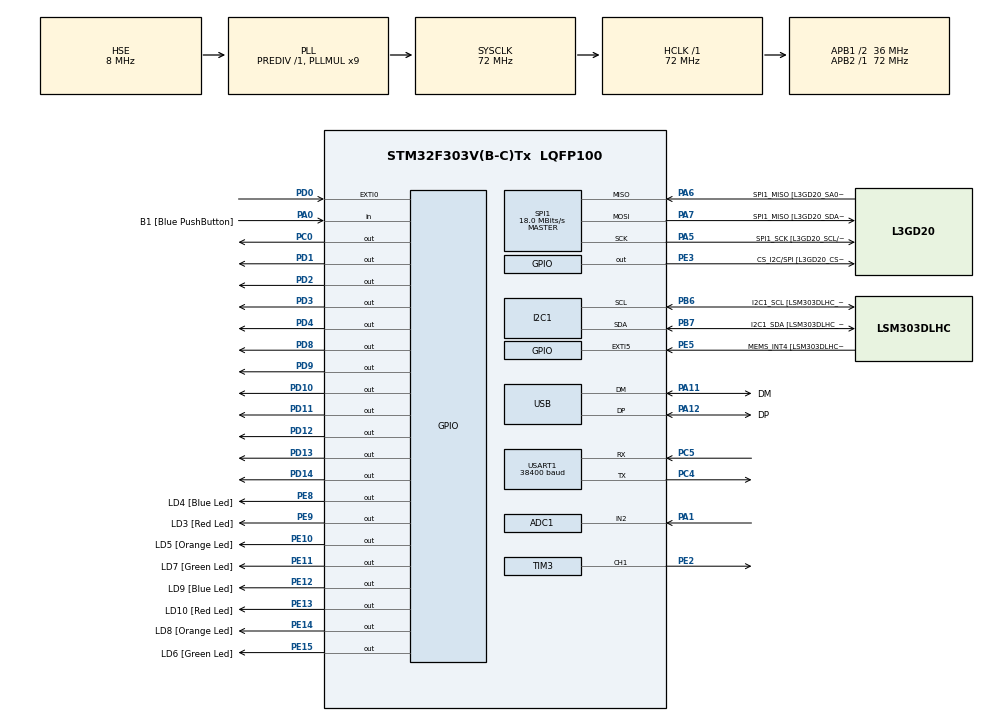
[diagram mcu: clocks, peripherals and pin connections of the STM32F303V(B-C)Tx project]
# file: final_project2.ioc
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ADC1.Channel-0\#ChannelRegularConversion=ADC_CHANNEL_2
ADC1.NbrOfConversionFlag=1
ADC1.Offset-0\#ChannelRegularConversion=0
ADC1.OffsetNumber-0\#ChannelRegularConversion=ADC_OFFSET_NONE
ADC1.Rank-0\#ChannelRegularConversion=1
ADC1.SamplingTime-0\#ChannelRegularConversion=ADC_SAMPLETIME_601CYCLES_5
ADC1.SamplingTimeOPAMP-0\#ChannelRegularConversion=ADC_SAMPLETIME_19CYCLES_5
ADC1.master=1
I2C1.Timing-I2C=0x2000090E
Mcu.Family=STM32F3
Mcu.Name=STM32F303V(B-C)Tx
Mcu.Package=LQFP100
NVIC.ADC1_2_IRQn=true\:1\:0\:true\:false\:true\:true\:true
NVIC.EXTI0_IRQn=true\:0\:0\:false\:false\:true\:true\:true
NVIC.PriorityGroup=NVIC_PRIORITYGROUP_3
NVIC.TIM2_IRQn=true\:3\:0\:true\:false\:true\:true\:true
NVIC.TIM4_IRQn=true\:1\:0\:true\:false\:true\:true\:true
NVIC.USART1_IRQn=true\:0\:0\:false\:false\:true\:true\:true
PA0.GPIO_Label=B1 [Blue PushButton]
PA0.Signal=GPIO_Input
PA1.Mode=IN2-Single-Ended
PA1.Signal=ADC1_IN2
PA11.GPIO_Label=DM
PA11.Mode=Device
PA11.Signal=USB_DM
PA12.GPIO_Label=DP
PA12.Mode=Device
PA12.Signal=USB_DP
PA13.GPIO_Label=SWDIO
PA13.Mode=Serial_Wire
PA13.Signal=SYS_JTMS-SWDIO
PA14.GPIO_Label=SWCLK
PA14.Mode=Serial_Wire
PA14.Signal=SYS_JTCK-SWCLK
PA5.GPIO_Label=SPI1_SCK [L3GD20_SCL/SPC]
PA5.Mode=Full_Duplex_Master
PA5.Signal=SPI1_SCK
PA6.GPIO_Label=SPI1_MISO [L3GD20_SA0/SDO]
PA6.Mode=Full_Duplex_Master
PA6.Signal=SPI1_MISO
PA7.GPIO_Label=SPI1_MISO [L3GD20_SDA/SDI/SDO]
PA7.Mode=Full_Duplex_Master
PA7.Signal=SPI1_MOSI
PB3.GPIO_Label=SWO
PB3.Signal=SYS_JTDO-TRACESWO
PB6.GPIO_Label=I2C1_SCL [LSM303DLHC_SCL]
PB6.GPIO_Pu=GPIO_PULLUP
PB6.Mode=I2C
PB6.Signal=I2C1_SCL
PB7.GPIO_Label=I2C1_SDA [LSM303DLHC_SDA]
PB7.GPIO_Pu=GPIO_PULLUP
PB7.Mode=I2C
PB7.Signal=I2C1_SDA
PC0.Signal=GPIO_Output
PC14-OSC32_IN.GPIO_Label=OSC32_IN
PC14-OSC32_IN.Signal=RCC_OSC32_IN
PC15-OSC32_OUT.GPIO_Label=OSC32_OUT
PC15-OSC32_OUT.Signal=RCC_OSC32_OUT
PC4.Mode=Asynchronous
PC4.Signal=USART1_TX
PC5.Mode=Asynchronous
PC5.Signal=USART1_RX
PD0.GPIO_PuPd=GPIO_PULLDOWN
PD0.Signal=GPXTI0
PD1.Signal=GPIO_Output
PD10.Signal=GPIO_Output
PD11.Signal=GPIO_Output
PD12.Signal=GPIO_Output
PD13.Signal=GPIO_Output
PD14.Signal=GPIO_Output
PD2.Signal=GPIO_Output
PD3.Signal=GPIO_Output
PD4.Signal=GPIO_Output
PD8.Signal=GPIO_Output
PD9.Signal=GPIO_Output
PE10.GPIO_Label=LD5 [Orange Led]
PE10.Signal=GPIO_Output
PE11.GPIO_Label=LD7 [Green Led]
PE11.Signal=GPIO_Output
PE12.GPIO_Label=LD9 [Blue Led]
PE12.Signal=GPIO_Output
PE13.GPIO_Label=LD10 [Red Led]
PE13.Signal=GPIO_Output
PE14.GPIO_Label=LD8 [Orange Led]
PE14.Signal=GPIO_Output
PE15.GPIO_Label=LD6 [Green Led]
PE15.Signal=GPIO_Output
PE2.Signal=S_TIM3_CH1
PE3.GPIO_Label=CS_I2C/SPI [L3GD20_CS_I2C/SPI]
PE3.Signal=GPIO_Output
PE5.GPIO_Label=MEMS_INT4 [LSM303DLHC_INT2]
PE5.GPIO_ModeDefaultEXTI=GPIO_MODE_EVT_RISING
PE5.Signal=GPXTI5
PE8.GPIO_Label=LD4 [Blue Led]
PE8.Signal=GPIO_Output
PE9.GPIO_Label=LD3 [Red Led]
PE9.Signal=GPIO_Output
PF0-OSC_IN.GPIO_Label=OSC_IN
PF0-OSC_IN.Mode=HSE-External-Clock-Source
PF0-OSC_IN.Signal=RCC_OSC_IN
PF1-OSC_OUT.GPIO_Label=OSC_OUT
PF1-OSC_OUT.Signal=RCC_OSC_OUT
ProjectManager.HeapSize=0x200
ProjectManager.StackSize=0x400
ProjectManager.TargetToolchain=STM32CubeIDE
RCC.AHBFreq_Value=72000000
RCC.APB1CLKDivider=RCC_HCLK_DIV2
RCC.APB1Freq_Value=36000000
RCC.APB1TimFreq_Value=72000000
RCC.APB2Freq_Value=72000000
RCC.APB2TimFreq_Value=72000000
RCC.CortexFreq_Value=72000000
RCC.HCLKFreq_Value=72000000
RCC.HSE_VALUE=8000000
RCC.HSI_VALUE=8000000
RCC.LSE_VALUE=32768
RCC.PLLMUL=RCC_PLL_MUL9
RCC.PRESCALERUSB=RCC_USBCLKSOURCE_PLL_DIV1_5
RCC.SYSCLKFreq_VALUE=72000000
RCC.SYSCLKSourceVirtual=RCC_SYSCLKSOURCE_PLLCLK
RCC.USBFreq_Value=48000000
RTC.Date=23
RTC.WeekDay=RTC_WEEKDAY_MONDAY
RTC.Year=23
SH.S_TIM3_CH1.0=TIM3_CH1,PWM Generation1 CH1
SPI1.BaudRatePrescaler=SPI_BAUDRATEPRESCALER_4
SPI1.BaudRatePrescaler-Full_Duplex_Master=SPI_BAUDRATEPRESCALER_2
SPI1.CalculateBaudRate=18.0 MBits/s
SPI1.CalculateBaudRate-Full_Duplex_Master=24.0 MBits/s
SPI1.Direction=SPI_DIRECTION_2LINES
SPI1.Mode=SPI_MODE_MASTER
SPI1.Mode-Full_Duplex_Master=SPI_MODE_MASTER
SPI1.VirtualType=VM_MASTER
TIM2.Period=999
TIM2.Prescaler=14399
TIM3.Channel-PWM\ Generation1\ CH1=TIM_CHANNEL_1
TIM4.Period=38399
TIM4.Prescaler=999
USART1.BaudRate=38400
USART1.VirtualMode-Asynchronous=VM_ASYNC
VP_RTC_VS_RTC_Activate.Mode=RTC_Enabled
VP_RTC_VS_RTC_Calendar.Mode=RTC_Calendar
VP_TIM2_VS_ClockSourceINT.Mode=Internal
VP_TIM3_VS_ClockSourceINT.Mode=Internal
VP_TIM4_VS_ClockSourceINT.Mode=Internal
board=STM32F3DISCOVERY

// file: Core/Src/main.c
/* USER CODE BEGIN Header */
/**
  ******************************************************************************
  * @file           : main.c
  * @brief          : Main program body
  ******************************************************************************
  * @attention
  *
  * <h2><center>&copy; Copyright (c) 2023 STMicroelectronics.
  * All rights reserved.</center></h2>
  *
  * This software component is licensed by ST under BSD 3-Clause license,
  * the "License"; You may not use this file except in compliance with the
  * License. You may obtain a copy of the License at:
  *                        opensource.org/licenses/BSD-3-Clause
  *
  ******************************************************************************
  */
/* USER CODE END Header */
#include "main.h"

/* USER CODE BEGIN Includes */
#include "LiquidCrystal.h"
#include "Keypad.h"
#include "Lcd.h"
#include "Time.h"
#include "GameManager.h"
#include "Buzzer.h"
/* USER CODE END Includes */

ADC_HandleTypeDef hadc1;

I2C_HandleTypeDef hi2c1;

RTC_HandleTypeDef hrtc;

SPI_HandleTypeDef hspi1;

TIM_HandleTypeDef htim2;
TIM_HandleTypeDef htim3;
TIM_HandleTypeDef htim4;

UART_HandleTypeDef huart1;

PCD_HandleTypeDef hpcd_USB_FS;

void SystemClock_Config(void);
static void MX_GPIO_Init(void);
static void MX_I2C1_Init(void);
static void MX_SPI1_Init(void);
static void MX_USB_PCD_Init(void);
static void MX_ADC1_Init(void);
static void MX_RTC_Init(void);
static void MX_TIM2_Init(void);
static void MX_TIM3_Init(void);
static void MX_TIM4_Init(void);
static void MX_USART1_UART_Init(void);
/* USER CODE BEGIN PFP */
unsigned char data[10];
int maxSize=10;
int melodyChanged=0;

/* USER CODE END PFP */

/* USER CODE BEGIN 0 */

void HAL_GPIO_EXTI_Callback(uint16_t GPIO_Pin)
{
	keypadAssign(GPIO_Pin);

}
void HAL_TIM_PeriodElapsedCallback(TIM_HandleTypeDef *htim){
	if(htim->Instance == TIM2){
		arrangeScreen();
	}
	else if(htim->Instance == TIM4){
		int x = HAL_ADC_GetValue(&hadc1);
		 		  float fx = ((float)x *100/4095);
		 		   x = (int)fx;
//		 		   sprintf("%d ",x);
//		 		  HAL_UART_Transmit(&huart1, data, 5 , 1000);
		 		  volume =(uint16_t)x;
		 		  HAL_ADC_Start_IT(&hadc1);

	}
}
/* USER CODE END 0 */

int main(void)
{

  /* MCU Configuration--------------------------------------------------------*/

  /* Reset of all peripherals, Initializes the Flash interface and the Systick. */
  HAL_Init();

  /* Configure the system clock */
  SystemClock_Config();

  /* Initialize all configured peripherals */
  MX_GPIO_Init();
  MX_I2C1_Init();
  MX_SPI1_Init();
  MX_USB_PCD_Init();
  MX_ADC1_Init();
  MX_RTC_Init();
  MX_TIM2_Init();
  MX_TIM3_Init();
  MX_TIM4_Init();
  MX_USART1_UART_Init();
  /* USER CODE BEGIN 2 */
  initRtc();
  lcdInit();

  HAL_TIM_Base_Start_IT(&htim2);
  HAL_TIM_Base_Start_IT(&htim4);
//  HAL_TIM_Base_Start_IT(&htim3);
  HAL_TIM_PWM_Start(&htim3, TIM_CHANNEL_1);
  HAL_ADC_Start_IT(&hadc1);
  HAL_UART_Receive_IT(&huart1, data, maxSize);
  data[maxSize-1] = '\n';
  buzzerInit();
  //for first time we set this bool to 0 for the screen that does n't need refreshing
  screenAlreadyShowed =0;
  //number of times that timer ticked for calculating 1 sec and 2 sec and 3 sec for 3 modes of game
  timerTicked=0;
  //number of dead enemies in the begining will be setted to 0
  deadAliens =0;
  //first set flag of player's move to none
  playerMove = RIGHT;
  //set player position to 2
  playerPosition =1;
  //boss position
  bossPosition[0]=18;//j
  bossPosition[1]=1;//i
  //boss damage
  bossDamage=10;
  /* USER CODE END 2 */

  /* Infinite loop */
  while (1)
  {

  }
}

void SystemClock_Config(void)
{
  RCC_OscInitTypeDef RCC_OscInitStruct = {0};
  RCC_ClkInitTypeDef RCC_ClkInitStruct = {0};
  RCC_PeriphCLKInitTypeDef PeriphClkInit = {0};

  /** Initializes the RCC Oscillators according to the specified parameters
  * in the RCC_OscInitTypeDef structure.
  */
  RCC_OscInitStruct.OscillatorType = RCC_OSCILLATORTYPE_HSI|RCC_OSCILLATORTYPE_LSI
                              |RCC_OSCILLATORTYPE_HSE;
  RCC_OscInitStruct.HSEState = RCC_HSE_BYPASS;
  RCC_OscInitStruct.HSEPredivValue = RCC_HSE_PREDIV_DIV1;
  RCC_OscInitStruct.HSIState = RCC_HSI_ON;
  RCC_OscInitStruct.HSICalibrationValue = RCC_HSICALIBRATION_DEFAULT;
  RCC_OscInitStruct.LSIState = RCC_LSI_ON;
  RCC_OscInitStruct.PLL.PLLState = RCC_PLL_ON;
  RCC_OscInitStruct.PLL.PLLSource = RCC_PLLSOURCE_HSE;
  RCC_OscInitStruct.PLL.PLLMUL = RCC_PLL_MUL9;
  if (HAL_RCC_OscConfig(&RCC_OscInitStruct) != HAL_OK)
  {
    Error_Handler();
  }
  /** Initializes the CPU, AHB and APB buses clocks
  */
  RCC_ClkInitStruct.ClockType = RCC_CLOCKTYPE_HCLK|RCC_CLOCKTYPE_SYSCLK
                              |RCC_CLOCKTYPE_PCLK1|RCC_CLOCKTYPE_PCLK2;
  RCC_ClkInitStruct.SYSCLKSource = RCC_SYSCLKSOURCE_PLLCLK;
  RCC_ClkInitStruct.AHBCLKDivider = RCC_SYSCLK_DIV1;
  RCC_ClkInitStruct.APB1CLKDivider = RCC_HCLK_DIV2;
  RCC_ClkInitStruct.APB2CLKDivider = RCC_HCLK_DIV1;

  if (HAL_RCC_ClockConfig(&RCC_ClkInitStruct, FLASH_LATENCY_2) != HAL_OK)
  {
    Error_Handler();
  }
  PeriphClkInit.PeriphClockSelection = RCC_PERIPHCLK_USB|RCC_PERIPHCLK_USART1
                              |RCC_PERIPHCLK_I2C1|RCC_PERIPHCLK_RTC
                              |RCC_PERIPHCLK_ADC12;
  PeriphClkInit.Usart1ClockSelection = RCC_USART1CLKSOURCE_PCLK2;
  PeriphClkInit.Adc12ClockSelection = RCC_ADC12PLLCLK_DIV1;
  PeriphClkInit.I2c1ClockSelection = RCC_I2C1CLKSOURCE_HSI;
  PeriphClkInit.RTCClockSelection = RCC_RTCCLKSOURCE_LSI;
  PeriphClkInit.USBClockSelection = RCC_USBCLKSOURCE_PLL_DIV1_5;
  if (HAL_RCCEx_PeriphCLKConfig(&PeriphClkInit) != HAL_OK)
  {
    Error_Handler();
  }
}

static void MX_ADC1_Init(void)
{

  ADC_MultiModeTypeDef multimode = {0};
  ADC_ChannelConfTypeDef sConfig = {0};

  /** Common config
  */
  hadc1.Instance = ADC1;
  hadc1.Init.ClockPrescaler = ADC_CLOCK_ASYNC_DIV1;
  hadc1.Init.Resolution = ADC_RESOLUTION_12B;
  hadc1.Init.ScanConvMode = ADC_SCAN_DISABLE;
  hadc1.Init.ContinuousConvMode = DISABLE;
  hadc1.Init.DiscontinuousConvMode = DISABLE;
  hadc1.Init.ExternalTrigConvEdge = ADC_EXTERNALTRIGCONVEDGE_NONE;
  hadc1.Init.ExternalTrigConv = ADC_SOFTWARE_START;
  hadc1.Init.DataAlign = ADC_DATAALIGN_RIGHT;
  hadc1.Init.NbrOfConversion = 1;
  hadc1.Init.DMAContinuousRequests = DISABLE;
  hadc1.Init.EOCSelection = ADC_EOC_SINGLE_CONV;
  hadc1.Init.LowPowerAutoWait = DISABLE;
  hadc1.Init.Overrun = ADC_OVR_DATA_OVERWRITTEN;
  if (HAL_ADC_Init(&hadc1) != HAL_OK)
  {
    Error_Handler();
  }
  /** Configure the ADC multi-mode
  */
  multimode.Mode = ADC_MODE_INDEPENDENT;
  if (HAL_ADCEx_MultiModeConfigChannel(&hadc1, &multimode) != HAL_OK)
  {
    Error_Handler();
  }
  /** Configure Regular Channel
  */
  sConfig.Channel = ADC_CHANNEL_2;
  sConfig.Rank = ADC_REGULAR_RANK_1;
  sConfig.SingleDiff = ADC_SINGLE_ENDED;
  sConfig.SamplingTime = ADC_SAMPLETIME_601CYCLES_5;
  sConfig.OffsetNumber = ADC_OFFSET_NONE;
  sConfig.Offset = 0;
  if (HAL_ADC_ConfigChannel(&hadc1, &sConfig) != HAL_OK)
  {
    Error_Handler();
  }

}

static void MX_I2C1_Init(void)
{

  hi2c1.Instance = I2C1;
  hi2c1.Init.Timing = 0x2000090E;
  hi2c1.Init.OwnAddress1 = 0;
  hi2c1.Init.AddressingMode = I2C_ADDRESSINGMODE_7BIT;
  hi2c1.Init.DualAddressMode = I2C_DUALADDRESS_DISABLE;
  hi2c1.Init.OwnAddress2 = 0;
  hi2c1.Init.OwnAddress2Masks = I2C_OA2_NOMASK;
  hi2c1.Init.GeneralCallMode = I2C_GENERALCALL_DISABLE;
  hi2c1.Init.NoStretchMode = I2C_NOSTRETCH_DISABLE;
  if (HAL_I2C_Init(&hi2c1) != HAL_OK)
  {
    Error_Handler();
  }
  /** Configure Analogue filter
  */
  if (HAL_I2CEx_ConfigAnalogFilter(&hi2c1, I2C_ANALOGFILTER_ENABLE) != HAL_OK)
  {
    Error_Handler();
  }
  /** Configure Digital filter
  */
  if (HAL_I2CEx_ConfigDigitalFilter(&hi2c1, 0) != HAL_OK)
  {
    Error_Handler();
  }

}

static void MX_RTC_Init(void)
{

  RTC_TimeTypeDef sTime = {0};
  RTC_DateTypeDef sDate = {0};

  /** Initialize RTC Only
  */
  hrtc.Instance = RTC;
  hrtc.Init.HourFormat = RTC_HOURFORMAT_24;
  hrtc.Init.AsynchPrediv = 127;
  hrtc.Init.SynchPrediv = 255;
  hrtc.Init.OutPut = RTC_OUTPUT_DISABLE;
  hrtc.Init.OutPutPolarity = RTC_OUTPUT_POLARITY_HIGH;
  hrtc.Init.OutPutType = RTC_OUTPUT_TYPE_OPENDRAIN;
  if (HAL_RTC_Init(&hrtc) != HAL_OK)
  {
    Error_Handler();
  }

  /** Initialize RTC and set the Time and Date
  */
  sTime.Hours = 0x0;
  sTime.Minutes = 0x0;
  sTime.Seconds = 0x0;
  sTime.DayLightSaving = RTC_DAYLIGHTSAVING_NONE;
  sTime.StoreOperation = RTC_STOREOPERATION_RESET;
  if (HAL_RTC_SetTime(&hrtc, &sTime, RTC_FORMAT_BCD) != HAL_OK)
  {
    Error_Handler();
  }
  sDate.WeekDay = RTC_WEEKDAY_MONDAY;
  sDate.Month = RTC_MONTH_JANUARY;
  sDate.Date = 0x23;
  sDate.Year = 0x23;

  if (HAL_RTC_SetDate(&hrtc, &sDate, RTC_FORMAT_BCD) != HAL_OK)
  {
    Error_Handler();
  }

}

static void MX_SPI1_Init(void)
{

  /* SPI1 parameter configuration*/
  hspi1.Instance = SPI1;
  hspi1.Init.Mode = SPI_MODE_MASTER;
  hspi1.Init.Direction = SPI_DIRECTION_2LINES;
  hspi1.Init.DataSize = SPI_DATASIZE_4BIT;
  hspi1.Init.CLKPolarity = SPI_POLARITY_LOW;
  hspi1.Init.CLKPhase = SPI_PHASE_1EDGE;
  hspi1.Init.NSS = SPI_NSS_SOFT;
  hspi1.Init.BaudRatePrescaler = SPI_BAUDRATEPRESCALER_4;
  hspi1.Init.FirstBit = SPI_FIRSTBIT_MSB;
  hspi1.Init.TIMode = SPI_TIMODE_DISABLE;
  hspi1.Init.CRCCalculation = SPI_CRCCALCULATION_DISABLE;
  hspi1.Init.CRCPolynomial = 7;
  hspi1.Init.CRCLength = SPI_CRC_LENGTH_DATASIZE;
  hspi1.Init.NSSPMode = SPI_NSS_PULSE_ENABLE;
  if (HAL_SPI_Init(&hspi1) != HAL_OK)
  {
    Error_Handler();
  }

}

static void MX_TIM2_Init(void)
{

  TIM_ClockConfigTypeDef sClockSourceConfig = {0};
  TIM_MasterConfigTypeDef sMasterConfig = {0};

  htim2.Instance = TIM2;
  htim2.Init.Prescaler = 14399;
  htim2.Init.CounterMode = TIM_COUNTERMODE_UP;
  htim2.Init.Period = 999;
  htim2.Init.ClockDivision = TIM_CLOCKDIVISION_DIV1;
  htim2.Init.AutoReloadPreload = TIM_AUTORELOAD_PRELOAD_DISABLE;
  if (HAL_TIM_Base_Init(&htim2) != HAL_OK)
  {
    Error_Handler();
  }
  sClockSourceConfig.ClockSource = TIM_CLOCKSOURCE_INTERNAL;
  if (HAL_TIM_ConfigClockSource(&htim2, &sClockSourceConfig) != HAL_OK)
  {
    Error_Handler();
  }
  sMasterConfig.MasterOutputTrigger = TIM_TRGO_RESET;
  sMasterConfig.MasterSlaveMode = TIM_MASTERSLAVEMODE_DISABLE;
  if (HAL_TIMEx_MasterConfigSynchronization(&htim2, &sMasterConfig) != HAL_OK)
  {
    Error_Handler();
  }

}

static void MX_TIM3_Init(void)
{

  TIM_ClockConfigTypeDef sClockSourceConfig = {0};
  TIM_MasterConfigTypeDef sMasterConfig = {0};
  TIM_OC_InitTypeDef sConfigOC = {0};

  htim3.Instance = TIM3;
  htim3.Init.Prescaler = 0;
  htim3.Init.CounterMode = TIM_COUNTERMODE_UP;
  htim3.Init.Period = 65535;
  htim3.Init.ClockDivision = TIM_CLOCKDIVISION_DIV1;
  htim3.Init.AutoReloadPreload = TIM_AUTORELOAD_PRELOAD_DISABLE;
  if (HAL_TIM_Base_Init(&htim3) != HAL_OK)
  {
    Error_Handler();
  }
  sClockSourceConfig.ClockSource = TIM_CLOCKSOURCE_INTERNAL;
  if (HAL_TIM_ConfigClockSource(&htim3, &sClockSourceConfig) != HAL_OK)
  {
    Error_Handler();
  }
  if (HAL_TIM_PWM_Init(&htim3) != HAL_OK)
  {
    Error_Handler();
  }
  sMasterConfig.MasterOutputTrigger = TIM_TRGO_RESET;
  sMasterConfig.MasterSlaveMode = TIM_MASTERSLAVEMODE_DISABLE;
  if (HAL_TIMEx_MasterConfigSynchronization(&htim3, &sMasterConfig) != HAL_OK)
  {
    Error_Handler();
  }
  sConfigOC.OCMode = TIM_OCMODE_PWM1;
  sConfigOC.Pulse = 0;
  sConfigOC.OCPolarity = TIM_OCPOLARITY_HIGH;
  sConfigOC.OCFastMode = TIM_OCFAST_DISABLE;
  if (HAL_TIM_PWM_ConfigChannel(&htim3, &sConfigOC, TIM_CHANNEL_1) != HAL_OK)
  {
    Error_Handler();
  }
  HAL_TIM_MspPostInit(&htim3);

}

static void MX_TIM4_Init(void)
{

  TIM_ClockConfigTypeDef sClockSourceConfig = {0};
  TIM_MasterConfigTypeDef sMasterConfig = {0};

  htim4.Instance = TIM4;
  htim4.Init.Prescaler = 999;
  htim4.Init.CounterMode = TIM_COUNTERMODE_UP;
  htim4.Init.Period = 38399;
  htim4.Init.ClockDivision = TIM_CLOCKDIVISION_DIV1;
  htim4.Init.AutoReloadPreload = TIM_AUTORELOAD_PRELOAD_DISABLE;
  if (HAL_TIM_Base_Init(&htim4) != HAL_OK)
  {
    Error_Handler();
  }
  sClockSourceConfig.ClockSource = TIM_CLOCKSOURCE_INTERNAL;
  if (HAL_TIM_ConfigClockSource(&htim4, &sClockSourceConfig) != HAL_OK)
  {
    Error_Handler();
  }
  sMasterConfig.MasterOutputTrigger = TIM_TRGO_RESET;
  sMasterConfig.MasterSlaveMode = TIM_MASTERSLAVEMODE_DISABLE;
  if (HAL_TIMEx_MasterConfigSynchronization(&htim4, &sMasterConfig) != HAL_OK)
  {
    Error_Handler();
  }

}

static void MX_USART1_UART_Init(void)
{

  huart1.Instance = USART1;
  huart1.Init.BaudRate = 38400;
  huart1.Init.WordLength = UART_WORDLENGTH_8B;
  huart1.Init.StopBits = UART_STOPBITS_1;
  huart1.Init.Parity = UART_PARITY_NONE;
  huart1.Init.Mode = UART_MODE_TX_RX;
  huart1.Init.HwFlowCtl = UART_HWCONTROL_NONE;
  huart1.Init.OverSampling = UART_OVERSAMPLING_16;
  huart1.Init.OneBitSampling = UART_ONE_BIT_SAMPLE_DISABLE;
  huart1.AdvancedInit.AdvFeatureInit = UART_ADVFEATURE_NO_INIT;
  if (HAL_UART_Init(&huart1) != HAL_OK)
  {
    Error_Handler();
  }

}

static void MX_USB_PCD_Init(void)
{

  hpcd_USB_FS.Instance = USB;
  hpcd_USB_FS.Init.dev_endpoints = 8;
  hpcd_USB_FS.Init.speed = PCD_SPEED_FULL;
  hpcd_USB_FS.Init.phy_itface = PCD_PHY_EMBEDDED;
  hpcd_USB_FS.Init.low_power_enable = DISABLE;
  hpcd_USB_FS.Init.battery_charging_enable = DISABLE;
  if (HAL_PCD_Init(&hpcd_USB_FS) != HAL_OK)
  {
    Error_Handler();
  }

}

static void MX_GPIO_Init(void)
{
  GPIO_InitTypeDef GPIO_InitStruct = {0};

  /* GPIO Ports Clock Enable */
  __HAL_RCC_GPIOE_CLK_ENABLE();
  __HAL_RCC_GPIOC_CLK_ENABLE();
  __HAL_RCC_GPIOF_CLK_ENABLE();
  __HAL_RCC_GPIOA_CLK_ENABLE();
  __HAL_RCC_GPIOD_CLK_ENABLE();
  __HAL_RCC_GPIOB_CLK_ENABLE();

  /*Configure GPIO pin Output Level */
  HAL_GPIO_WritePin(GPIOE, CS_I2C_SPI_Pin|LD4_Pin|LD3_Pin|LD5_Pin
                          |LD7_Pin|LD9_Pin|LD10_Pin|LD8_Pin
                          |LD6_Pin, GPIO_PIN_RESET);

  /*Configure GPIO pin Output Level */
  HAL_GPIO_WritePin(GPIOC, GPIO_PIN_0, GPIO_PIN_RESET);

  /*Configure GPIO pin Output Level */
  HAL_GPIO_WritePin(GPIOD, GPIO_PIN_8|GPIO_PIN_9|GPIO_PIN_10|GPIO_PIN_11
                          |GPIO_PIN_12|GPIO_PIN_13|GPIO_PIN_14|GPIO_PIN_1
                          |GPIO_PIN_2|GPIO_PIN_3|GPIO_PIN_4, GPIO_PIN_RESET);

  /*Configure GPIO pins : CS_I2C_SPI_Pin LD4_Pin LD3_Pin LD5_Pin
                           LD7_Pin LD9_Pin LD10_Pin LD8_Pin
                           LD6_Pin */
  GPIO_InitStruct.Pin = CS_I2C_SPI_Pin|LD4_Pin|LD3_Pin|LD5_Pin
                          |LD7_Pin|LD9_Pin|LD10_Pin|LD8_Pin
                          |LD6_Pin;
  GPIO_InitStruct.Mode = GPIO_MODE_OUTPUT_PP;
  GPIO_InitStruct.Pull = GPIO_NOPULL;
  GPIO_InitStruct.Speed = GPIO_SPEED_FREQ_LOW;
  HAL_GPIO_Init(GPIOE, &GPIO_InitStruct);

  /*Configure GPIO pin : MEMS_INT4_Pin */
  GPIO_InitStruct.Pin = MEMS_INT4_Pin;
  GPIO_InitStruct.Mode = GPIO_MODE_EVT_RISING;
  GPIO_InitStruct.Pull = GPIO_NOPULL;
  HAL_GPIO_Init(MEMS_INT4_GPIO_Port, &GPIO_InitStruct);

  /*Configure GPIO pin : PC0 */
  GPIO_InitStruct.Pin = GPIO_PIN_0;
  GPIO_InitStruct.Mode = GPIO_MODE_OUTPUT_PP;
  GPIO_InitStruct.Pull = GPIO_NOPULL;
  GPIO_InitStruct.Speed = GPIO_SPEED_FREQ_LOW;
  HAL_GPIO_Init(GPIOC, &GPIO_InitStruct);

  /*Configure GPIO pin : B1_Pin */
  GPIO_InitStruct.Pin = B1_Pin;
  GPIO_InitStruct.Mode = GPIO_MODE_INPUT;
  GPIO_InitStruct.Pull = GPIO_NOPULL;
  HAL_GPIO_Init(B1_GPIO_Port, &GPIO_InitStruct);

  /*Configure GPIO pins : PD8 PD9 PD10 PD11
                           PD12 PD13 PD14 PD1
                           PD2 PD3 PD4 */
  GPIO_InitStruct.Pin = GPIO_PIN_8|GPIO_PIN_9|GPIO_PIN_10|GPIO_PIN_11
                          |GPIO_PIN_12|GPIO_PIN_13|GPIO_PIN_14|GPIO_PIN_1
                          |GPIO_PIN_2|GPIO_PIN_3|GPIO_PIN_4;
  GPIO_InitStruct.Mode = GPIO_MODE_OUTPUT_PP;
  GPIO_InitStruct.Pull = GPIO_NOPULL;
  GPIO_InitStruct.Speed = GPIO_SPEED_FREQ_LOW;
  HAL_GPIO_Init(GPIOD, &GPIO_InitStruct);

  /*Configure GPIO pin : PD0 */
  GPIO_InitStruct.Pin = GPIO_PIN_0;
  GPIO_InitStruct.Mode = GPIO_MODE_IT_RISING;
  GPIO_InitStruct.Pull = GPIO_PULLDOWN;
  HAL_GPIO_Init(GPIOD, &GPIO_InitStruct);

  /* EXTI interrupt init*/
  HAL_NVIC_SetPriority(EXTI0_IRQn, 0, 0);
  HAL_NVIC_EnableIRQ(EXTI0_IRQn);

}

/* USER CODE BEGIN 4 */
void HAL_UART_RxCpltCallback(UART_HandleTypeDef *huart){

	if(huart->Instance == USART1){
	HAL_UART_Transmit(&huart1, data, maxSize , 1000);
	data[maxSize-1]='\0';
	screenAlreadyShowed = 0;
	  HAL_UART_Receive_IT(&huart1, data, maxSize);

	}

}
/* USER CODE END 4 */

void Error_Handler(void)
{
  __disable_irq();
  while (1)
  {
  }
}

/************************ (C) COPYRIGHT STMicroelectronics *****END OF FILE****/
